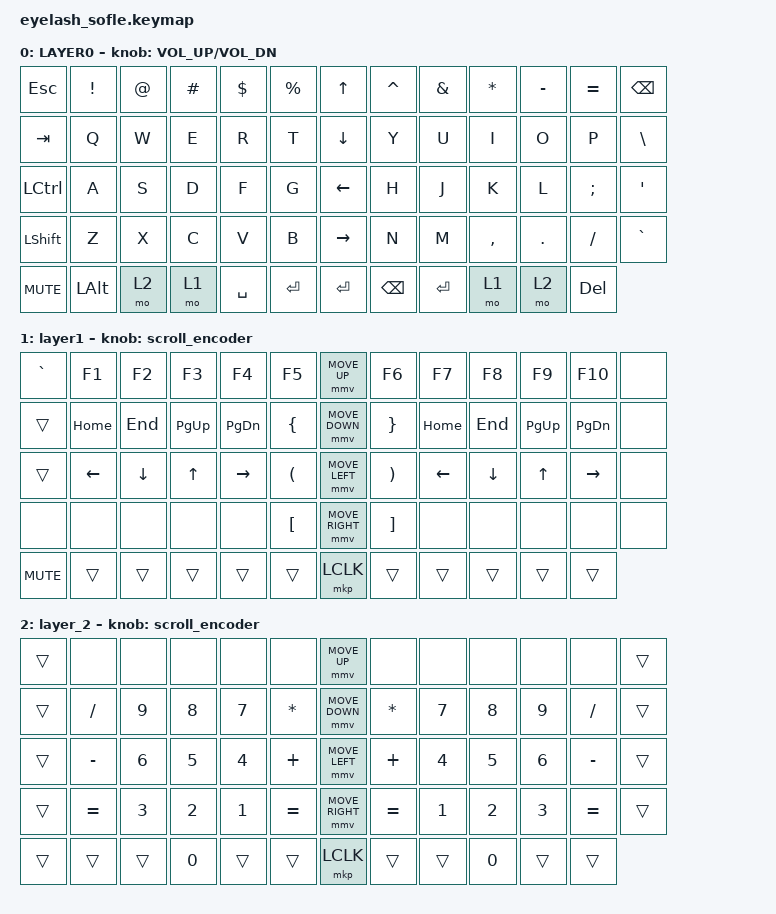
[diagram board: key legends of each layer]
#define ZMK_POINTING_DEFAULT_MOVE_VAL 1200  // 600
#define ZMK_POINTING_DEFAULT_SCRL_VAL 25   // 10

#include <input/processors.dtsi>
#include <zephyr/dt-bindings/input/input-event-codes.h>
#include <behaviors.dtsi>
#include <dt-bindings/zmk/keys.h>
#include <dt-bindings/zmk/pointing.h>

&mmv_input_listener { input-processors = <&zip_xy_scaler 2 1>; };

&msc_input_listener { input-processors = <&zip_scroll_scaler 2 1>; };

&msc {
    acceleration-exponent = <1>;      // 0
    time-to-max-speed-ms = <100>;       // 300
    delay-ms = <0>;                   // 0
};

&mmv {
    time-to-max-speed-ms = <500>;
    acceleration-exponent = <1>;
    trigger-period-ms = <16>;
};

/ {
    scroll_encoder: scroll_encoder {
        compatible = "zmk,behavior-sensor-rotate";
        #sensor-binding-cells = <0>;
        bindings = <&msc SCRL_DOWN>, <&msc SCRL_UP>;

        tap-ms = <100>;
    };

    behaviors {
    };

    keymap {
        compatible = "zmk,keymap";

        layer0 {
            bindings = <
&kp ESC     &kp EXCL      &kp AT_SIGN  &kp HASH  &kp DOLLAR  &kp PERCENT    &kp UP_ARROW     &kp CARET      &kp AMPERSAND  &kp ASTERISK  &kp MINUS  &kp EQUAL   &kp BACKSPACE
&kp TAB     &kp Q         &kp W        &kp E     &kp R       &kp T          &kp DOWN_ARROW   &kp Y          &kp U          &kp I         &kp O      &kp P       &kp BSLH
&kp LCTRL   &kp A         &kp S        &kp D     &kp F       &kp G          &kp LEFT_ARROW   &kp H          &kp J          &kp K         &kp L      &kp SEMI    &kp APOS
&kp LSHFT   &kp Z         &kp X        &kp C     &kp V       &kp B          &kp RIGHT_ARROW  &kp N          &kp M          &kp COMMA     &kp DOT    &kp FSLH    &kp GRAVE
&kp C_MUTE  &kp LEFT_ALT  &mo 2        &mo 1     &kp SPACE   &kp ENTER      &kp ENTER        &kp BACKSPACE  &kp ENTER      &mo 1         &mo 2      &kp DELETE
            >;

            sensor-bindings = <&inc_dec_kp C_VOLUME_UP C_VOL_DN>;
            display-name = "LAYER0";
        };

        layer_1 {
            bindings = <
&kp GRAVE   &kp F1    &kp F2    &kp F3       &kp F4         &kp F5              &mmv MOVE_UP     &kp F6             &kp F7    &kp F8    &kp F9       &kp F10        &none
&trans      &kp HOME  &kp END   &kp PAGE_UP  &kp PAGE_DOWN  &kp LEFT_BRACE      &mmv MOVE_DOWN   &kp RIGHT_BRACE    &kp HOME  &kp END   &kp PAGE_UP  &kp PAGE_DOWN  &none
&trans      &kp LEFT  &kp DOWN  &kp UP       &kp RIGHT      &kp LPAR            &mmv MOVE_LEFT   &kp RPAR           &kp LEFT  &kp DOWN  &kp UP       &kp RIGHT      &none
&none       &none     &none     &none        &none          &kp LEFT_BRACKET    &mmv MOVE_RIGHT  &kp RIGHT_BRACKET  &none     &none     &none        &none          &none
&kp C_MUTE  &trans    &trans    &trans       &trans         &trans              &mkp LCLK        &trans             &trans    &trans    &trans       &trans
            >;

            display-name = "layer1";
            sensor-bindings = <&scroll_encoder>;
        };

        layer_2 {
            bindings = <
&trans  &none      &none         &none         &none         &none           &mmv MOVE_UP     &none         &none         &none         &none         &none      &trans
&trans  &kp SLASH  &kp N9        &kp N8        &kp N7        &kp ASTERISK    &mmv MOVE_DOWN   &kp ASTERISK  &kp N7        &kp N8        &kp N9        &kp SLASH  &trans
&trans  &kp MINUS  &kp NUMBER_6  &kp N5        &kp NUMBER_4  &kp PLUS        &mmv MOVE_LEFT   &kp PLUS      &kp NUMBER_4  &kp N5        &kp NUMBER_6  &kp MINUS  &trans
&trans  &kp EQUAL  &kp NUMBER_3  &kp NUMBER_2  &kp NUMBER_1  &kp EQUAL       &mmv MOVE_RIGHT  &kp EQUAL     &kp NUMBER_1  &kp NUMBER_2  &kp NUMBER_3  &kp EQUAL  &trans
&trans  &trans     &trans        &kp N0        &trans        &trans          &mkp LCLK        &trans        &trans        &kp N0        &trans        &trans
            >;

            sensor-bindings = <&scroll_encoder>;
        };
    };
};
